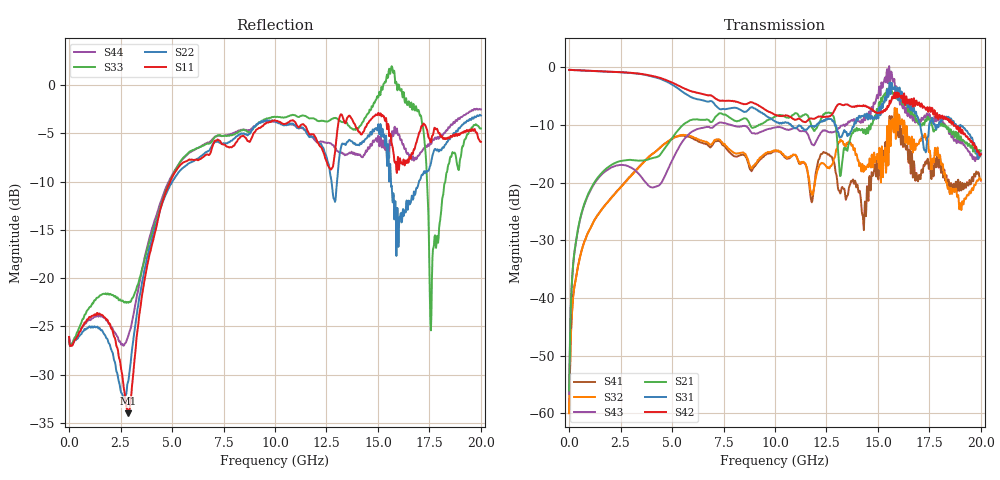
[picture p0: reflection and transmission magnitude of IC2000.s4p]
!  4-Port S-parameters saved by WinCal
! VAR MeasName=S-Parameters (CALIBRATED_DATA) read from VNA (N5230A)
! VAR MeasDate=1/22/2015 10:09:58 AM
! VAR NAME=HD3SS3411_A_to_B_SEL_L
! VAR FILENAME=HD3SS3411_A_to_B_SEL_L.S4P
! VAR DATE=1/22/2015 10:09:58 AM
! VAR PHYS_PORTS=1,2,3,4
! VAR ObjTypeName=DATASET
! VAR IndexType=Frequency
# Hz S MA R 50
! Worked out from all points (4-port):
!   800 points, 300 kHz to 20 GHz, reference 50 ohm
!   strongest paths, dB at 300 kHz, 5.006 GHz, 10.01 GHz, 15.02 GHz, 20 GHz:
!     S42: -0.5, -2.7, -8.3, -7.9, -15.1
!     S31: -0.5, -3.0, -9.4, -8.9, -15.0
!     S21: -56.0, -12.3, -8.6, -7.6, -14.5
!     S43: -56.6, -16.1, -10.4, -5.3, -14.9
!     S32: -60.0, -12.4, -14.4, -16.1, -19.5
!     S41: -59.9, -12.4, -14.6, -19.5, -19.6
!   lowest |S11| = -34.0 dB at 2.879 GHz (marker M1), VSWR 1.04, Z = 49.5 - j1.93 ohm
!   |S11| at or under -10 dB: start of sweep to 4.9 GHz
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300000  0.04954 -3.9  0.001492 -5.4  0.9454 0.5  0.0012 -4.3
        0.001579 -4.8  0.04902 -2.2  0.0009487 -13.3  0.9455 0.4
        0.9481 -0.2  0.001003 -10.0  0.04663 6.8  0.001461 3.1
        0.001017 -5.6  0.9452 0.4  0.001474 1.2  0.04964 -3.1
6.511038e8  0.05623 16.2  0.05831 69.3  0.9357 -18.0  0.02744 -119.2
            0.05844 69.3  0.05275 10.7  0.02746 -119.5  0.9362 -17.7
            0.9355 -18.1  0.02745 -119.6  0.06135 16.1  0.05742 67.1
            0.02751 -119.2  0.9358 -17.7  0.05744 67.2  0.05581 11.9
2.878855e9  0.01994 -102.6  0.1565 26.4  0.8942 -78.6  0.1092 -173.4
            0.1569 26.6  0.02938 -134.7  0.1081 -174.4  0.8954 -76.7
            0.895 -78.6  0.1081 -175.0  0.07458 -80.0  0.1383 12.9
            0.1093 -173.2  0.8943 -76.9  0.1384 12.9  0.05041 -109.5
1.078862e10  0.6549 -9.4  0.3512 -94.8  0.3059 106.5  0.162 -67.7
             0.3729 -93.8  0.6318 -1.8  0.1784 -66.0  0.3772 108.3
             0.3126 107.0  0.1709 -67.9  0.6985 -14.4  0.2893 -90.8
             0.1677 -65.9  0.3666 107.8  0.2899 -90.7  0.6242 -6.1
1.534425e10  0.6531 -104.1  0.5949 157.9  0.5215 55.1  0.1909 -96.5
             0.5941 147.5  0.4857 -152.4  0.2174 -143.1  0.4209 27.1
             0.5434 45.7  0.199 -131.8  1.045 -120.5  0.8072 138.4
             0.2031 -118.6  0.4156 23.4  0.8138 132.8  0.4632 -143.8
1.707138e10  0.5886 -120.6  0.3403 58.2  0.3285 -63.7  0.1233 144.5
             0.3197 60.3  0.328 -165.0  0.2364 121.8  0.4925 -51.1
             0.2988 -58.1  0.2295 125.3  0.6985 123.4  0.3517 51.8
             0.1073 150.8  0.4549 -46.8  0.3326 49.8  0.4486 165.3
2e10  0.5086 154.8  0.2005 -27.1  0.1803 -106.9  0.09519 50.0
      0.189 -25.8  0.697 119.3  0.1068 71.0  0.1596 -152.1
      0.177 -106.8  0.1062 69.4  0.5967 133.0  0.1602 -48.8
      0.1042 54.2  0.1763 -149.6  0.1792 -45.9  0.7492 111.7
